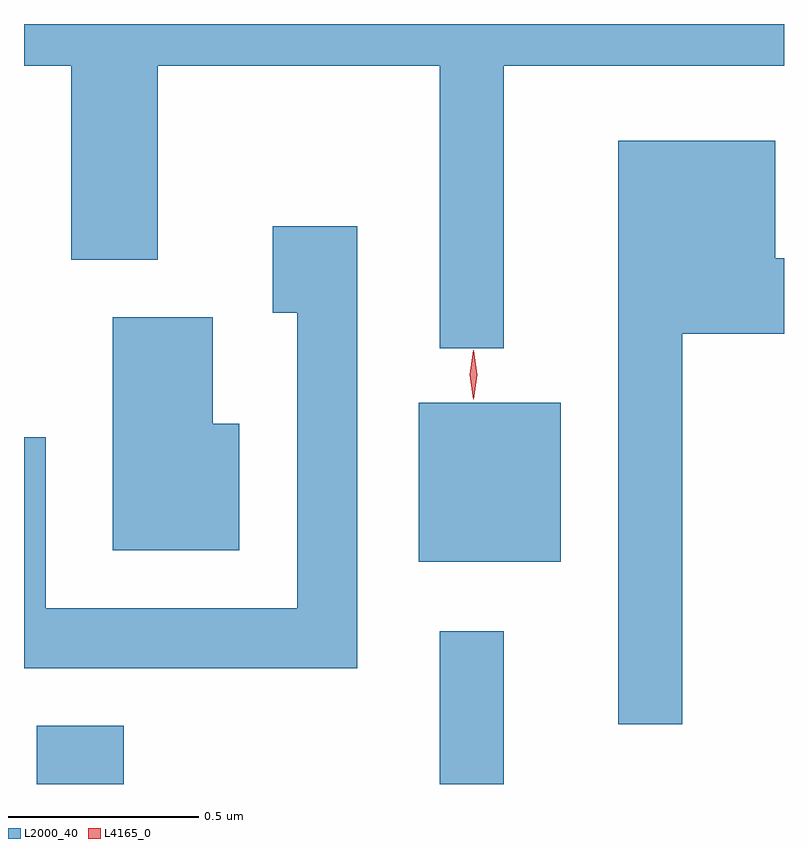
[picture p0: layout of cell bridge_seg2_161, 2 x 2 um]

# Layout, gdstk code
import gdstk
lib = gdstk.Library(unit=1e-6, precision=1e-09)
def R(c, l, rs):  # rectangles x0, y0, x1, y1
    for r in rs: c.add(gdstk.rectangle(r[:2], r[2:], *l))
def P(c, l, *ps):  # polygons
    for p in ps: c.add(gdstk.Polygon(p, *l))
L2000_40 = (2000, 40)
L4165_0 = (4165, 0)

bridge_seg2_161 = lib.new_cell('bridge_seg2_161')
R(bridge_seg2_161, L2000_40, [(863.271,1064.186,863.499,1064.339), (864.331,1064.186,864.499,1064.588), (864.276,1064.771,864.649,1065.189)])
P(bridge_seg2_161, L2000_40, [(864.499,1066.076),(865.237,1066.076),(865.237,1066.186),(863.237,1066.186),(863.237,1066.076),(863.361,1066.076),(863.361,1065.566),(863.589,1065.566),(863.589,1066.076),(864.331,1066.076),(864.331,1065.333),(864.499,1065.333)],
  [(864.969,1065.371),(865.237,1065.371),(865.237,1065.569),(865.214,1065.569),(865.214,1065.879),(864.801,1065.879),(864.801,1064.343),(864.969,1064.343)],
  [(864.114,1065.654),(863.891,1065.654),(863.891,1065.426),(863.956,1065.426),(863.956,1064.649),(863.294,1064.649),(863.294,1065.098),(863.237,1065.098),(863.237,1064.491),(864.114,1064.491)],
  [(863.804,1065.134),(863.734,1065.134),(863.734,1065.414),(863.471,1065.414),(863.471,1064.801),(863.804,1064.801)])
P(bridge_seg2_161, L4165_0, [(864.42,1065.198),(864.419,1065.199),(864.41,1065.263),(864.419,1065.327),(864.42,1065.328),(864.42,1065.327),(864.43,1065.263),(864.42,1065.199)])

lib.write_gds('bridge_seg2_161.gds')
